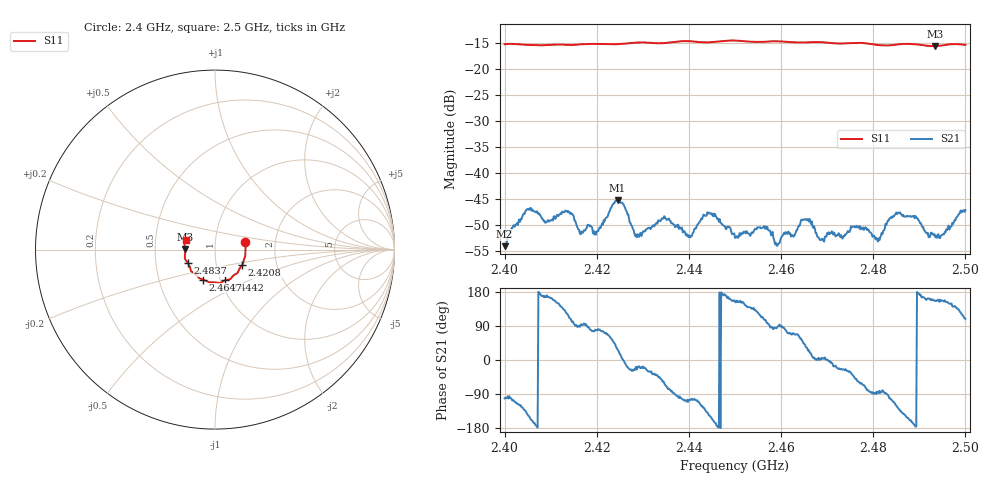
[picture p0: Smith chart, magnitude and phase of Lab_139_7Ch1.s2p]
# Hz S RI R 50
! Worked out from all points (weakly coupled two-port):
!   601 points, 2.4 GHz to 2.5 GHz, reference 50 ohm
!   highest |S21| = -45.26 dB at 2.4245 GHz (marker M1); lowest = -54.1 dB at 2.4 GHz (marker M2)
!   lowest |S11| = -15.6 dB at 2.4935 GHz (marker M3), VSWR 1.40, Z = 35.8 + j0.191 ohm
!   |S11| at or under -10 dB: start of sweep to end of sweep
!   S12 and S22 are empty: the file has one direction only
!   S11 on the Smith chart (normalised r, x): 2.4 GHz: 1.40, +0.12; 2.4208 GHz: 1.33, -0.24; 2.4442 GHz: 1.05, -0.37; 2.4647 GHz: 0.83, -0.29; 2.4837 GHz: 0.73, -0.11; 2.5 GHz: 0.72, +0.08
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2.4e9  0.1679 0.0411  -0.000383 -0.00193  0 0  0 0
2.405167e9  0.1703 0.00756  -0.00371 -0.00239  0 0  0 0
2.413833e9  0.1632 -0.0494  -0.00195 0.00381  0 0  0 0
2.416667e9  0.1589 -0.0681  -0.000196 0.00272  0 0  0 0
2.420833e9  0.1508 -0.0872  0.000653 0.00288  0 0  0 0
2.4245e9  0.1376 -0.1053  0.00481 0.00256  0 0  0 0
2.428667e9  0.1278 -0.1262  0.00217 -0.00102  0 0  0 0
2.433333e9  0.1079 -0.1401  0.00248 -0.00245  0 0  0 0
2.440167e9  0.0813 -0.1663  -0.000674 -0.0024  0 0  0 0
2.444167e9  0.0569 -0.1712  -0.00318 -0.00252  0 0  0 0
2.45e9  0.0246 -0.1863  -0.00212 0.00105  0 0  0 0
2.4565e9  -0.0172 -0.1822  -0.000772 0.0028  0 0  0 0
2.459167e9  -0.0316 -0.1821  0.000115 0.00198  0 0  0 0
2.464667e9  -0.0673 -0.167  0.00227 0.00265  0 0  0 0
2.466667e9  -0.08 -0.1627  0.00335 0.000669  0 0  0 0
2.468833e9  -0.089 -0.1579  0.0023 0.000236  0 0  0 0
2.475833e9  -0.1267 -0.1248  0.00218 -0.00214  0 0  0 0
2.481e9  -0.1397 -0.0968  0.000233 -0.00217  0 0  0 0
2.483333e9  -0.1504 -0.0762  -0.000296 -0.00345  0 0  0 0
2.483667e9  -0.1522 -0.0732  -0.000738 -0.00359  0 0  0 0
2.4935e9  -0.166 0.0026  -0.0022 0.00093  0 0  0 0
2.5e9  -0.1624 0.0526  -0.00141 0.00414  0 0  0 0
